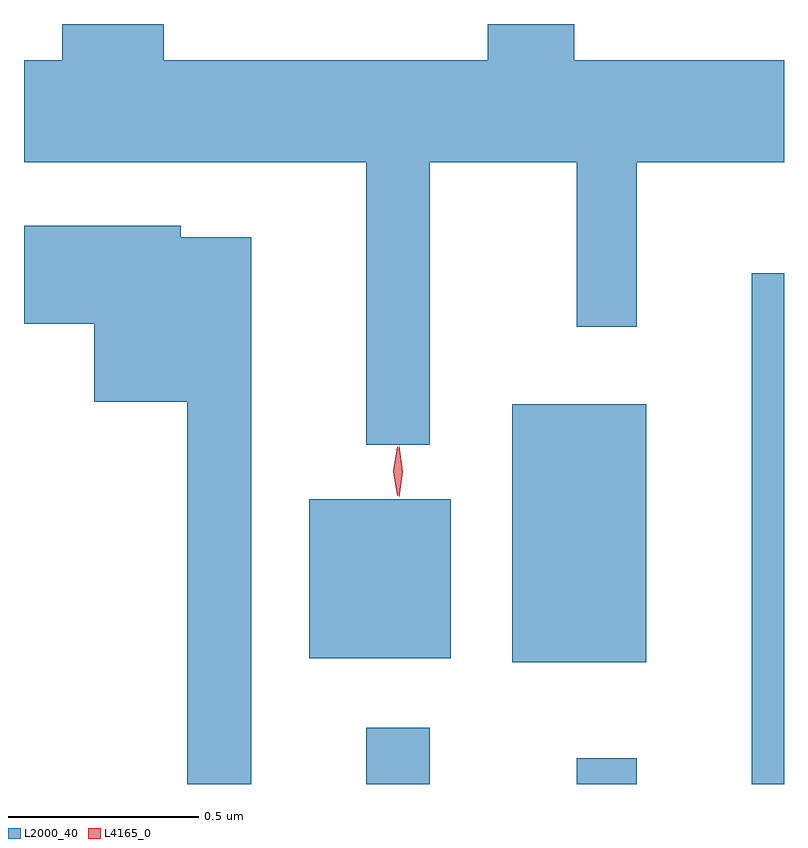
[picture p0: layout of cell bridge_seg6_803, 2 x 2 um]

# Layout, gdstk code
import gdstk
lib = gdstk.Library(unit=1e-6, precision=1e-09)
def R(c, l, rs):  # rectangles x0, y0, x1, y1
    for r in rs: c.add(gdstk.rectangle(r[:2], r[2:], *l))
def P(c, l, *ps):  # polygons
    for p in ps: c.add(gdstk.Polygon(p, *l))
L2000_40 = (2000, 40)
L4165_0 = (4165, 0)

bridge_seg6_803 = lib.new_cell('bridge_seg6_803')
R(bridge_seg6_803, L2000_40, [(412.111,1575.04,412.279,1575.188), (412.666,1575.04,412.824,1575.108), (413.126,1575.04,413.211,1576.384), (412.496,1575.361,412.849,1576.039), (411.961,1575.371,412.334,1575.789)])
P(bridge_seg6_803, L2000_40, [(412.279,1576.676),(412.666,1576.676),(412.666,1576.243),(412.824,1576.243),(412.824,1576.676),(413.211,1576.676),(413.211,1576.944),(412.659,1576.944),(412.659,1577.04),(412.431,1577.04),(412.431,1576.944),(411.579,1576.944),(411.579,1577.04),(411.311,1577.04),(411.311,1576.944),(411.211,1576.944),(411.211,1576.676),(412.111,1576.676),(412.111,1575.933),(412.279,1575.933)],
  [(411.809,1576.479),(411.624,1576.479),(411.624,1576.509),(411.211,1576.509),(411.211,1576.251),(411.396,1576.251),(411.396,1576.046),(411.641,1576.046),(411.641,1575.04),(411.809,1575.04)])
P(bridge_seg6_803, L4165_0, [(412.198,1575.794),(412.198,1575.794),(412.188,1575.862),(412.198,1575.93),(412.198,1575.93),(412.199,1575.93),(412.208,1575.862),(412.199,1575.794)],
  [(412.193,1575.798),(412.193,1575.799),(412.183,1575.863),(412.193,1575.927),(412.193,1575.927),(412.194,1575.927),(412.203,1575.863),(412.194,1575.799)])

lib.write_gds('bridge_seg6_803.gds')
